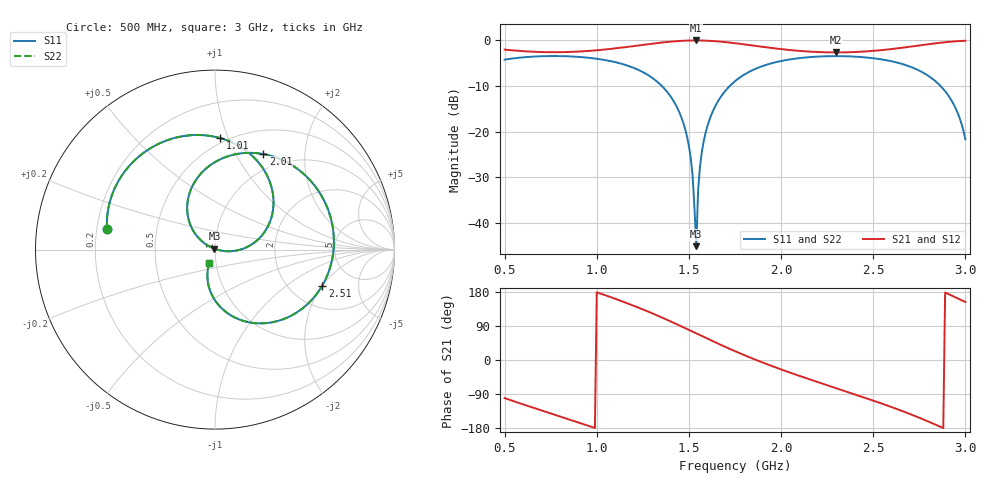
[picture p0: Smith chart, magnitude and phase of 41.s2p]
!freq-unit  param-type  data-format  keyword  impedance-ohms
# GHZ  S  RI  R  50
!Freq  ReS11  ImS11  ReS21  ImS21  ReS12  ImS12  ReS22  ImS22
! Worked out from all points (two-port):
!   251 points, 500 MHz to 3 GHz, reference 50 ohm
!   highest |S21| = -0.07 dB at 1.54 GHz (marker M1); lowest = -2.7 dB at 2.3 GHz (marker M2)
!   |S21| within 3 dB of the highest: start of sweep to end of sweep
!   lowest |S11| = -45.1 dB at 1.54 GHz (marker M3), VSWR 1.01, Z = 49.7 + j0.477 ohm
!   |S11| at or under -10 dB: 1.352 GHz to 1.722 GHz (370.1 MHz wide, 24.1 % of centre); 2.864 GHz to end of sweep
!   |S22| runs from -45.1 to -3.5 dB; largest |S21 - S12| = 0
!   S11 on the Smith chart (normalised r, x): 500 MHz: 0.24, +0.09; 1.01 GHz: 0.46, +0.94; 2.01 GHz: 0.79, +1.30; 2.51 GHz: 2.98, -1.98; 3 GHz: 0.93, -0.14
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0.5  -0.6011 0.1124  -0.1438 -0.7743  -0.1438 -0.7743  -0.6011 0.1124
0.69  -0.4985 0.4409  -0.4913 -0.556  -0.4913 -0.556  -0.4985 0.4409
0.92  -0.1357 0.6371  -0.737 -0.1563  -0.737 -0.1563  -0.1357 0.6371
1.01  0.0302 0.621  -0.7766 0.039  -0.7766 0.039  0.0302 0.621
1.19  0.2881 0.4167  -0.7021 0.4894  -0.7021 0.4894  0.2881 0.4167
1.34  0.3015 0.1438  -0.3956 0.8478  -0.3956 0.8478  0.3015 0.1438
1.43  0.1921 0.0212  -0.0904 0.9695  -0.0904 0.9695  0.1921 0.0212
1.49  0.0871 -0.00921  0.1427 0.9781  0.1427 0.9781  0.0871 -0.00921
1.52  0.0324 -0.00515  0.2599 0.957  0.2599 0.957  0.0324 -0.00515
1.54  -0.00282 0.0048  0.3362 0.9334  0.3362 0.9334  -0.00282 0.0048
1.55  -0.0197 0.0119  0.3734 0.9189  0.3734 0.9189  -0.0197 0.0119
1.56  -0.036 0.0203  0.4098 0.9026  0.4098 0.9026  -0.036 0.0203
1.59  -0.0801 0.053  0.5132 0.8435  0.5132 0.8435  -0.0801 0.053
1.65  -0.1401 0.1448  0.6862 0.6875  0.6862 0.6875  -0.1401 0.1448
1.75  -0.1372 0.3278  0.8512 0.3655  0.8512 0.3655  -0.1372 0.3278
2.01  0.2689 0.5325  0.7096 -0.3554  0.7096 -0.3554  0.2689 0.5325
2.17  0.5273 0.3889  0.4436 -0.5998  0.4436 -0.5998  0.5273 0.3889
2.3  0.6441 0.1789  0.1965 -0.7072  0.1965 -0.7072  0.6441 0.1789
2.51  0.5974 -0.2009  -0.2461 -0.7254  -0.2461 -0.7254  0.5974 -0.2009
2.59  0.501 -0.3166  -0.4273 -0.6702  -0.4273 -0.6702  0.501 -0.3166
2.87  0.0184 -0.3069  -0.9387 -0.0412  -0.9387 -0.0412  0.0184 -0.3069
3  -0.0323 -0.0758  -0.8764 0.4476  -0.8764 0.4476  -0.0323 -0.0758
